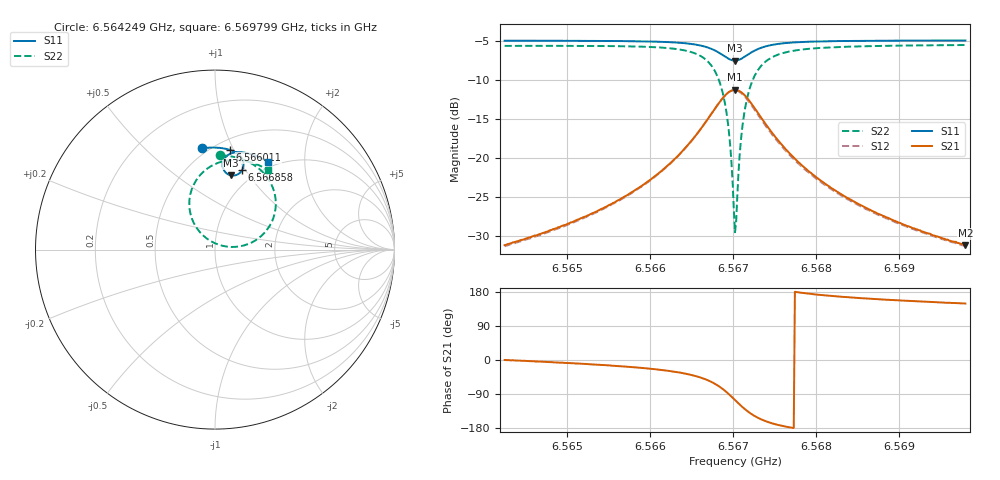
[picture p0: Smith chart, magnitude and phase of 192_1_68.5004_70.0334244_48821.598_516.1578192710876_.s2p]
#  HZ  S  RI  R  50.00
! Rohde & Schwarz Vector Network Analyzer
! Rohde-Schwarz,ZNB20-2Port,1311601062101988,3.16
! Created: UTC 3/20/2024, 4:57:09 PM
! freq[Hz]  re:S11  im:S11  re:S21  im:S21  re:S12  im:S12  re:S22  im:S22
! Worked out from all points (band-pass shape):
!   401 points, 6.564249 GHz to 6.569799 GHz, reference 50 ohm
!   highest |S21| = -11.22 dB at 6.567024 GHz (marker M1); lowest = -31.2 dB at 6.569799 GHz (marker M2)
!   |S21| within 3 dB of the highest: 6.566746 GHz to 6.567302 GHz (555.4 kHz wide, 0.00846 % of centre)
!   lowest |S11| = -7.5 dB at 6.567024 GHz (marker M3), VSWR 2.47, Z = 40.9 + j41.3 ohm
!   |S11| at or under -10 dB: nowhere
!   |S22| runs from -29.6 to -5.5 dB; largest |S21 - S12| = 0.013
!   S11 on the Smith chart (normalised r, x): 6.564249 GHz: 0.46, +0.77; 6.566011 GHz: 0.59, +0.97; 6.566858 GHz: 0.85, +0.96; 6.569799 GHz: 0.92, +1.33
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6.5642492e9  -0.0708 0.5648  0.0274 1.81e-06  0.027 -0.000607  0.0294 0.5259
6.5651788e9  0.00499 0.5681  0.0403 -0.00707  0.0398 -0.00765  0.1164 0.5138
6.5660113e9  0.0817 0.5562  0.0668 -0.0287  0.0659 -0.0295  0.2221 0.4682
6.5661084e9  0.0919 0.5526  0.0722 -0.0344  0.071 -0.0353  0.2382 0.4566
6.5664137e9  0.1266 0.5338  0.0929 -0.0662  0.0913 -0.0674  0.2969 0.3939
6.5666357e9  0.1521 0.5032  0.1065 -0.1194  0.1041 -0.1217  0.3362 0.2909
6.5667605e9  0.159 0.4725  0.0991 -0.1731  0.0949 -0.1763  0.3289 0.1884
6.5668577e9  0.1506 0.4416  0.067 -0.2261  0.0596 -0.229  0.2716 0.0891
6.5669409e9  0.1256 0.4186  0.00754 -0.2632  -0.00308 -0.2632  0.1626 0.0235
6.5669686e9  0.1138 0.4144  -0.0185 -0.2687  -0.03 -0.2671  0.1152 0.0153
6.5670103e9  0.0943 0.4131  -0.0602 -0.2677  -0.0718 -0.2629  0.0413 0.0214
6.5670241e9  0.0878 0.4141  -0.0741 -0.2645  -0.0853 -0.2588  0.0172 0.0284
6.567038e9  0.0814 0.4158  -0.0874 -0.26  -0.0983 -0.2532  -0.006 0.038
6.5670519e9  0.0752 0.4182  -0.1004 -0.2542  -0.1107 -0.2465  -0.0278 0.0497
6.5670935e9  0.0593 0.4295  -0.1338 -0.2304  -0.1419 -0.2205  -0.0829 0.0959
6.5671351e9  0.0486 0.4442  -0.1579 -0.2005  -0.1633 -0.1894  -0.12 0.1517
6.5671906e9  0.0422 0.4654  -0.1746 -0.1583  -0.1766 -0.1476  -0.1416 0.2273
6.56726e9  0.0445 0.4891  -0.1771 -0.1119  -0.1763 -0.1027  -0.1375 0.3082
6.5675098e9  0.0827 0.5328  -0.1342 -0.0248  -0.1314 -0.0209  -0.0399 0.4535
6.5679537e9  0.1433 0.5428  -0.0782 0.00834  -0.0763 0.00954  0.089 0.4988
6.5688833e9  0.2288 0.5215  -0.0378 0.0148  -0.037 0.015  0.2189 0.4802
6.5697991e9  0.2959 0.4884  -0.0235 0.0141  -0.023 0.0143  0.2978 0.4428
